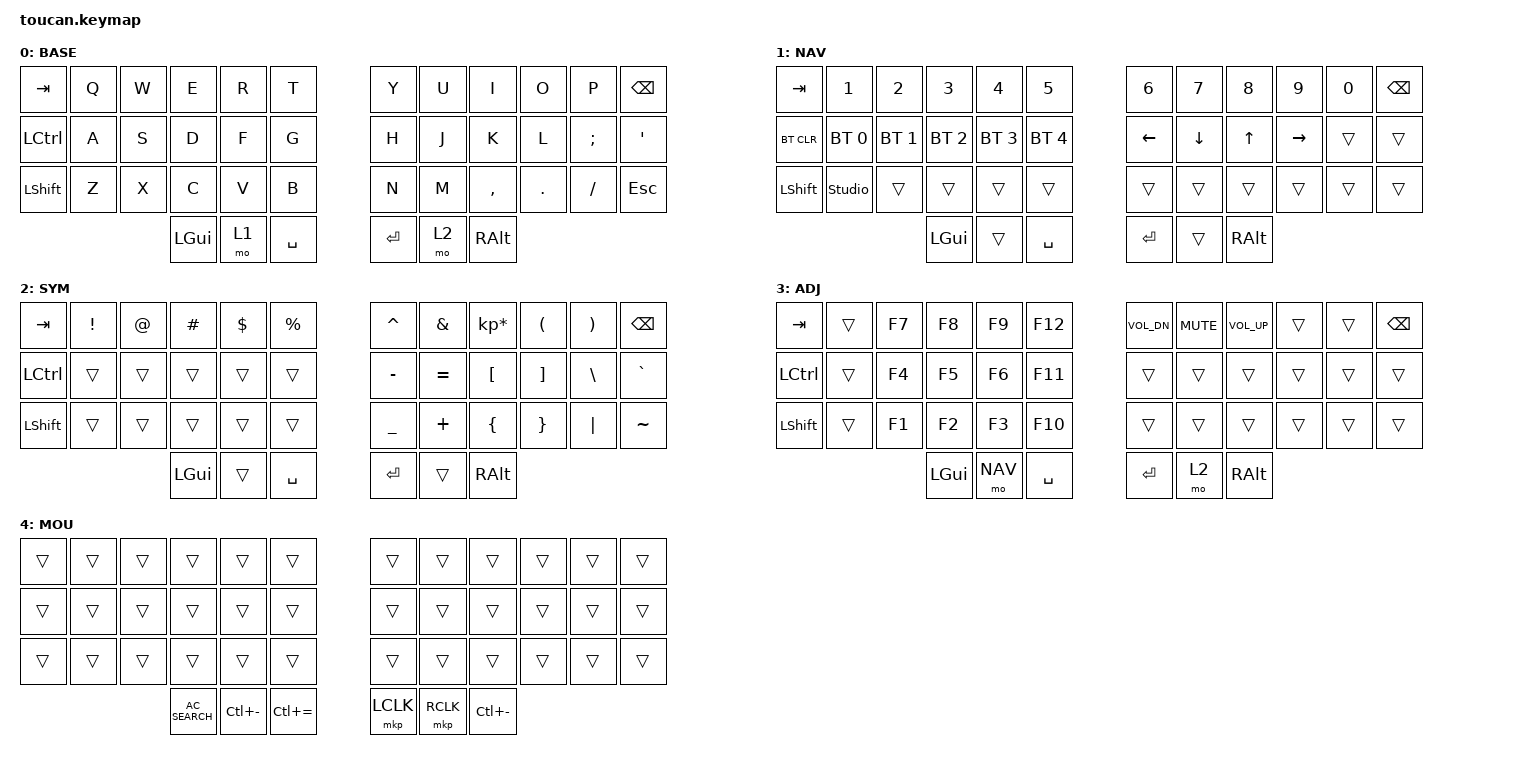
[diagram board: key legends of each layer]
#include <behaviors.dtsi>
#include <dt-bindings/zmk/keys.h>
#include <dt-bindings/zmk/bt.h>
#include <dt-bindings/zmk/outputs.h>
#include <dt-bindings/zmk/pointing.h>
#include <input/processors.dtsi>

#define BASE 0
#define NAV  1
#define SYM  2
#define ADJ  3

&trackpad_listener {
    scroller {
        // 모든 1손가락 터치가 스크롤로 바뀌는 것을 막기 위해 원래대로(15) 되돌림
        layers = <15>;
    };
};

/ {
    combos {
        compatible = "zmk,combos";

        // 기존 ESC 3키 콤보 (TAB + Q + W)
        combo_esc_3key { timeout-ms = <150>; key-positions = <0 1 2>; bindings = <&kp ESC>; layers = <0>; };
        
        // 추가된 ESC 수직 콤보 (TAB + LCTRL)
        combo_esc_tab_ctrl { timeout-ms = <150>; key-positions = <0 12>; bindings = <&kp ESC>; layers = <0>; };

        // 숫자 수직 콤보 (BASE 레이어 한정)
        combo_num1 { timeout-ms = <85>; key-positions = <1 13>; bindings = <&kp N1>; layers = <0>; };
        combo_num2 { timeout-ms = <85>; key-positions = <2 14>; bindings = <&kp N2>; layers = <0>; };
        combo_num3 { timeout-ms = <85>; key-positions = <3 15>; bindings = <&kp N3>; layers = <0>; };
        combo_num4 { timeout-ms = <85>; key-positions = <4 16>; bindings = <&kp N4>; layers = <0>; };
        combo_num5 { timeout-ms = <85>; key-positions = <5 17>; bindings = <&kp N5>; layers = <0>; };

        combo_num6 { timeout-ms = <85>; key-positions = <6 18>; bindings = <&kp N6>; layers = <0>; };
        combo_num7 { timeout-ms = <85>; key-positions = <7 19>; bindings = <&kp N7>; layers = <0>; };
        combo_num8 { timeout-ms = <85>; key-positions = <8 20>; bindings = <&kp N8>; layers = <0>; };
        combo_num9 { timeout-ms = <85>; key-positions = <9 21>; bindings = <&kp N9>; layers = <0>; };
        combo_num0 { timeout-ms = <85>; key-positions = <10 22>; bindings = <&kp N0>; layers = <0>; };

        // 방향키 콤보 (M 기준, BASE 레이어 한정)
        combo_up    { timeout-ms = <85>;  key-positions = <19 31>;    bindings = <&kp UP>;    layers = <0>; };
        combo_left  { timeout-ms = <85>;  key-positions = <30 31>;    bindings = <&kp LEFT>;  layers = <0>; };
        combo_right { timeout-ms = <85>;  key-positions = <31 32>;    bindings = <&kp RIGHT>; layers = <0>; };
        combo_down  { timeout-ms = <150>; key-positions = <30 31 32>; bindings = <&kp DOWN>;  layers = <0>; }; // N + M + COMMA (3키)

        // 두음법 특수문자 3키 콤보 (BASE 레이어 한정)
        combo_lbkt  { timeout-ms = <150>; key-positions = <1 2 3>;    bindings = <&kp LBKT>;  layers = <0>; }; // Q + W + E = [
        combo_rbkt  { timeout-ms = <150>; key-positions = <2 3 4>;    bindings = <&kp RBKT>;  layers = <0>; }; // W + E + R = ]
        combo_tilde { timeout-ms = <150>; key-positions = <13 14 15>; bindings = <&kp TILDE>; layers = <0>; }; // A + S + D = ~
        combo_excl  { timeout-ms = <150>; key-positions = <14 15 16>; bindings = <&kp EXCL>;  layers = <0>; }; // S + D + F = !
        combo_bslh  { timeout-ms = <150>; key-positions = <15 16 17>; bindings = <&kp BSLH>;  layers = <0>; }; // D + F + G = 백슬래시

        // 괄호 3키 콤보 (BASE 레이어 한정)
        combo_lpar  { timeout-ms = <150>; key-positions = <25 26 27>; bindings = <&kp LPAR>;  layers = <0>; }; // Z + X + C = (
        combo_rpar  { timeout-ms = <150>; key-positions = <26 27 28>; bindings = <&kp RPAR>;  layers = <0>; }; // X + C + V = )

        // ===== 새로 추가한 콤보 =====
        // 2키 콤보 (BASE 레이어 한정)
        combo_minus { timeout-ms = <85>;  key-positions = <1 2>;      bindings = <&kp MINUS>;       layers = <0>; }; // Q + W = -
        combo_plus  { timeout-ms = <85>;  key-positions = <3 4>;      bindings = <&kp PLUS>;        layers = <0>; }; // E + R = +
        combo_div   { timeout-ms = <85>;  key-positions = <13 14>;    bindings = <&kp FSLH>;        layers = <0>; }; // A + S = / (나누기)
        combo_mul   { timeout-ms = <85>;  key-positions = <15 16>;    bindings = <&kp KP_MULTIPLY>; layers = <0>; }; // D + F = * (곱하기)
        combo_eq    { timeout-ms = <85>;  key-positions = <27 28>;    bindings = <&kp EQUAL>;       layers = <0>; }; // C + V = =

        // 레노버 Smart Key (Google Search) 시도 (BASE 레이어 한정)
        combo_ai    { timeout-ms = <150>; key-positions = <3 4 5>;    bindings = <&kp C_AC_SEARCH>; layers = <0>; }; // E + R + T = 검색 키
    };

    conditional_layers {
        compatible = "zmk,conditional-layers";
        tri_layer {
            if-layers = <1 2>;
            then-layer = <3>;
        };
    };

    behaviors {
        mt_fast: behavior_mod_tap_fast {
            compatible = "zmk,behavior-hold-tap";
            label = "MOD_TAP_FAST";
            #binding-cells = <2>;
            flavor = "tap-preferred";      
            tapping-term-ms = <400>;       
            quick-tap-ms = <200>;          
            require-prior-idle-ms = <200>; 
            bindings = <&kp>, <&kp>;
        };
    };

    keymap {
        compatible = "zmk,keymap";

        base {
            display-name = "BASE";
            bindings = <
                &kp TAB   &kp Q &kp W &kp E &kp R &kp T   &kp Y &kp U  &kp I     &kp O   &kp P    &kp BSPC
                &kp LCTRL &kp A &kp S &kp D &kp F &kp G   &kp H &kp J  &kp K     &kp L   &kp SEMI &kp SQT
                &kp LSHFT &kp Z &kp X &kp C &kp V &kp B   &kp N &kp M  &kp COMMA &kp DOT &kp FSLH &kp ESC
                                &kp LGUI &mo 1 &kp SPACE  &kp RET &mo 2 &kp RALT
            >;
        };

        nav {
            display-name = "NAV";
            bindings = <
                &kp TAB     &kp N1         &kp N2       &kp N3       &kp N4       &kp N5         &kp N6   &kp N7   &kp N8 &kp N9    &kp N0 &kp BSPC
                &bt BT_CLR  &bt BT_SEL 0   &bt BT_SEL 1 &bt BT_SEL 2 &bt BT_SEL 3 &bt BT_SEL 4   &kp LEFT &kp DOWN &kp UP &kp RIGHT &trans &trans
                &kp LSHFT   &studio_unlock &trans       &trans       &trans       &trans         &trans   &trans   &trans &trans    &trans &trans
                                                        &kp LGUI     &trans       &kp SPACE      &kp RET  &trans   &kp RALT
            >;
        };

        sym {
            display-name = "SYM";
            bindings = <
                &kp TAB   &kp EXCL &kp AT &kp HASH &kp DLLR &kp PRCNT   &kp CARET &kp AMPS  &kp KP_MULTIPLY &kp LPAR &kp RPAR &kp BSPC
                &kp LCTRL &trans   &trans &trans   &trans   &trans      &kp MINUS &kp EQUAL &kp LBKT        &kp RBKT &kp BSLH &kp GRAVE
                &kp LSHFT &trans   &trans &trans   &trans   &trans      &kp UNDER &kp PLUS  &kp LBRC        &kp RBRC &kp PIPE &kp TILDE
                                          &kp LGUI &trans   &kp SPACE   &kp RET   &trans    &kp RALT
            >;
        };

        adj {
            display-name = "ADJ";
            bindings = <
                &kp TAB   &trans &kp F7 &kp F8 &kp F9 &kp F12   &kp C_VOL_DN &kp C_MUTE  &kp C_VOL_UP &trans &trans &kp BSPC
                &kp LCTRL &trans &kp F4 &kp F5 &kp F6 &kp F11   &trans       &trans      &trans       &trans &trans &trans
                &kp LSHFT &trans &kp F1 &kp F2 &kp F3 &kp F10   &trans       &trans      &trans       &trans &trans &trans
                                   &kp LGUI &mo NAV &kp SPACE   &kp RET      &mo 2       &kp RALT
            >;
        };

        mouse {
            display-name = "MOU";
            bindings = <
                &trans &trans &trans &trans &trans &trans           &trans    &trans    &trans    &trans &trans &trans
                &trans &trans &trans &trans &trans &trans           &trans    &trans    &trans    &trans &trans &trans
                &trans &trans &trans &trans &trans &trans           &trans    &trans    &trans    &trans &trans &trans
                    &kp C_AC_SEARCH &kp LC(MINUS) &kp LC(EQUAL)     &mkp LCLK &mkp RCLK &kp LC(MINUS)
            >;
        };

        extra_2 {
            status = "reserved";
        };

        extra_3 {
            status = "reserved";
        };
    };
};
